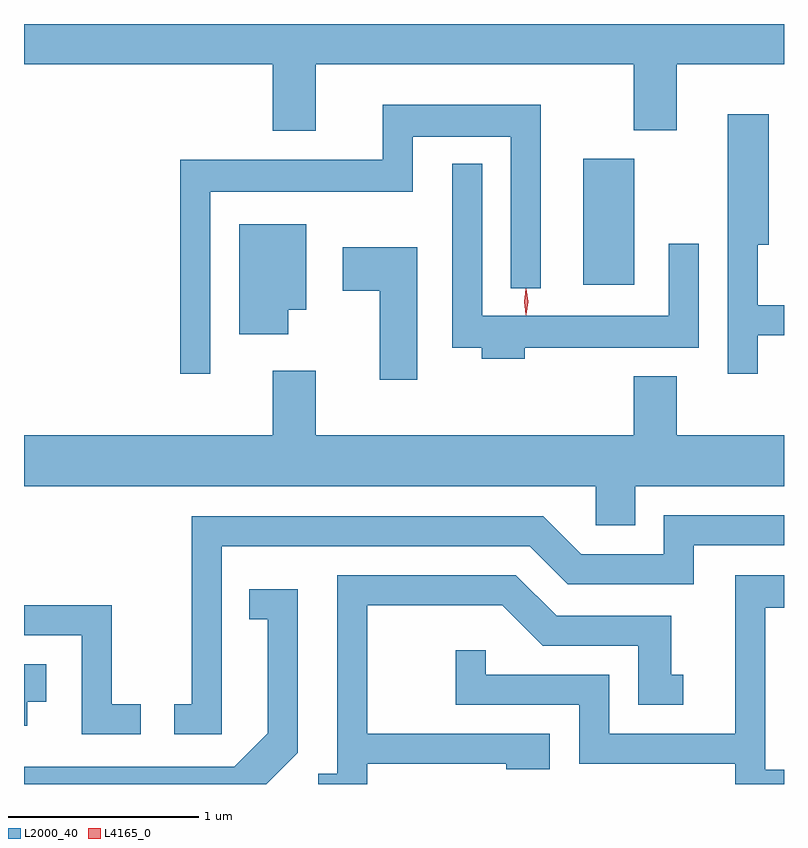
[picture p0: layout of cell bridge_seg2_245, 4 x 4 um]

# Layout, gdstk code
import gdstk
lib = gdstk.Library(unit=1e-6, precision=1e-09)
def R(c, l, rs):  # rectangles x0, y0, x1, y1
    for r in rs: c.add(gdstk.rectangle(r[:2], r[2:], *l))
def P(c, l, *ps):  # polygons
    for p in ps: c.add(gdstk.Polygon(p, *l))
L2000_40 = (2000, 40)
L4165_0 = (4165, 0)

bridge_seg2_245 = lib.new_cell('bridge_seg2_245')
R(bridge_seg2_245, L2000_40, [(490.536,1078.236,490.804,1078.899)])
P(bridge_seg2_245, L2000_40, [(489.129,1079.396),(490.801,1079.396),(490.801,1079.051),(491.029,1079.051),(491.029,1079.396),(491.593,1079.396),(491.593,1079.609),(487.593,1079.609),(487.593,1079.396),(488.901,1079.396),(488.901,1079.046),(489.129,1079.046)],
  [(488.574,1078.726),(489.639,1078.726),(489.639,1079.016),(490.156,1079.016),(490.156,1078.218),(490.314,1078.218),(490.314,1079.184),(489.481,1079.184),(489.481,1078.894),(488.416,1078.894),(488.416,1077.768),(488.574,1077.768)],
  [(491.454,1077.971),(491.593,1077.971),(491.593,1078.129),(491.454,1078.129),(491.454,1078.446),(491.514,1078.446),(491.514,1079.134),(491.296,1079.134),(491.296,1077.768),(491.454,1077.768)],
  [(490.229,1077.906),(491.144,1077.906),(491.144,1078.453),(490.986,1078.453),(490.986,1078.074),(490.004,1078.074),(490.004,1078.873),(489.846,1078.873),(489.846,1077.906),(490.001,1077.906),(490.001,1077.846),(490.229,1077.846)],
  [(488.984,1078.106),(489.079,1078.106),(489.079,1078.554),(488.726,1078.554),(488.726,1077.976),(488.984,1077.976)],
  [(489.664,1078.434),(489.271,1078.434),(489.271,1078.206),(489.466,1078.206),(489.466,1077.736),(489.664,1077.736)],
  [(490.809,1077.176),(491.593,1077.176),(491.593,1077.444),(491.029,1077.444),(491.029,1077.754),(490.801,1077.754),(490.801,1077.444),(489.129,1077.444),(489.129,1077.784),(488.901,1077.784),(488.901,1077.444),(487.593,1077.444),(487.593,1077.176),(490.601,1077.176),(490.601,1076.971),(490.809,1076.971)],
  [(488.634,1076.861),(490.254,1076.861),(490.454,1076.661),(491.119,1076.661),(491.119,1076.866),(491.593,1076.866),(491.593,1077.024),(490.961,1077.024),(490.961,1076.819),(490.527,1076.819),(490.327,1077.019),(488.476,1077.019),(488.476,1076.029),(488.383,1076.029),(488.383,1075.871),(488.634,1075.871)],
  [(489.399,1075.716),(490.131,1075.716),(490.131,1075.686),(490.359,1075.686),(490.359,1075.874),(489.399,1075.874),(489.399,1076.551),(490.109,1076.551),(490.324,1076.336),(490.826,1076.336),(490.826,1076.026),(491.063,1076.026),(491.063,1076.184),(490.999,1076.184),(490.999,1076.494),(490.397,1076.494),(490.182,1076.709),(489.241,1076.709),(489.241,1075.664),(489.141,1075.664),(489.141,1075.609),(489.399,1075.609)],
  [(491.593,1075.684),(491.494,1075.684),(491.494,1076.536),(491.593,1076.536),(491.593,1076.709),(491.336,1076.709),(491.336,1075.874),(490.674,1075.874),(490.674,1076.184),(490.024,1076.184),(490.024,1076.313),(489.866,1076.313),(489.866,1076.026),(490.516,1076.026),(490.516,1075.716),(491.336,1075.716),(491.336,1075.609),(491.593,1075.609)],
  [(489.034,1075.774),(489.034,1076.634),(488.778,1076.634),(488.778,1076.476),(488.876,1076.476),(488.876,1075.877),(488.699,1075.699),(487.593,1075.699),(487.593,1075.609),(488.869,1075.609)],
  [(488.208,1076.029),(488.054,1076.029),(488.054,1076.549),(487.593,1076.549),(487.593,1076.391),(487.896,1076.391),(487.896,1075.871),(488.208,1075.871)],
  [(487.609,1076.041),(487.709,1076.041),(487.709,1076.239),(487.593,1076.239),(487.593,1075.916),(487.609,1075.916)])
P(bridge_seg2_245, L4165_0, [(490.235,1078.08),(490.226,1078.146),(490.235,1078.212),(490.236,1078.213),(490.236,1078.212),(490.246,1078.146),(490.236,1078.08),(490.236,1078.08)],
  [(490.236,1078.077),(490.235,1078.078),(490.226,1078.147),(490.235,1078.216),(490.236,1078.216),(490.236,1078.216),(490.246,1078.147),(490.236,1078.078)])

lib.write_gds('bridge_seg2_245.gds')
